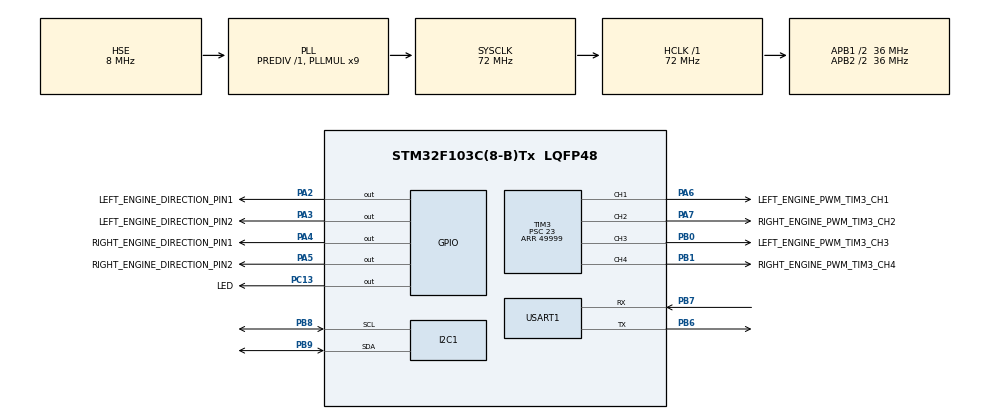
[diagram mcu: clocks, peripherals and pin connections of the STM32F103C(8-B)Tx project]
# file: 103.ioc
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Mcu.Family=STM32F1
Mcu.Name=STM32F103C(8-B)Tx
Mcu.Package=LQFP48
NVIC.I2C1_ER_IRQn=true\:0\:0\:false\:false\:true\:true\:true
NVIC.I2C1_EV_IRQn=true\:0\:0\:false\:false\:true\:true\:true
NVIC.PriorityGroup=NVIC_PRIORITYGROUP_4
NVIC.TIM3_IRQn=true\:0\:0\:false\:false\:true\:true\:true
NVIC.USART1_IRQn=true\:0\:0\:false\:false\:true\:true\:true
PA13.Mode=Trace_Asynchronous_SW
PA13.Signal=SYS_JTMS-SWDIO
PA14.Mode=Trace_Asynchronous_SW
PA14.Signal=SYS_JTCK-SWCLK
PA2.GPIO_Label=LEFT_ENGINE_DIRECTION_PIN1
PA2.GPIO_ModeDefaultOutputPP=GPIO_MODE_OUTPUT_OD
PA2.GPIO_Speed=GPIO_SPEED_FREQ_LOW
PA2.PinState=GPIO_PIN_RESET
PA2.Signal=GPIO_Output
PA3.GPIO_Label=LEFT_ENGINE_DIRECTION_PIN2
PA3.GPIO_ModeDefaultOutputPP=GPIO_MODE_OUTPUT_OD
PA3.GPIO_Speed=GPIO_SPEED_FREQ_LOW
PA3.PinState=GPIO_PIN_RESET
PA3.Signal=GPIO_Output
PA4.GPIO_Label=RIGHT_ENGINE_DIRECTION_PIN1
PA4.GPIO_ModeDefaultOutputPP=GPIO_MODE_OUTPUT_OD
PA4.GPIO_Speed=GPIO_SPEED_FREQ_LOW
PA4.PinState=GPIO_PIN_RESET
PA4.Signal=GPIO_Output
PA5.GPIO_Label=RIGHT_ENGINE_DIRECTION_PIN2
PA5.GPIO_ModeDefaultOutputPP=GPIO_MODE_OUTPUT_OD
PA5.GPIO_Speed=GPIO_SPEED_FREQ_LOW
PA5.PinState=GPIO_PIN_RESET
PA5.Signal=GPIO_Output
PA6.GPIO_Label=LEFT_ENGINE_PWM_TIM3_CH1
PA6.Signal=S_TIM3_CH1
PA7.GPIO_Label=RIGHT_ENGINE_PWM_TIM3_CH2
PA7.Signal=S_TIM3_CH2
PB0.GPIO_Label=LEFT_ENGINE_PWM_TIM3_CH3
PB0.Signal=S_TIM3_CH3
PB1.GPIO_Label=RIGHT_ENGINE_PWM_TIM3_CH4
PB1.Signal=S_TIM3_CH4
PB3.Mode=Trace_Asynchronous_SW
PB3.Signal=SYS_JTDO-TRACESWO
PB6.Mode=Asynchronous
PB6.Signal=USART1_TX
PB7.Mode=Asynchronous
PB7.Signal=USART1_RX
PB8.Mode=I2C
PB8.Signal=I2C1_SCL
PB9.Mode=I2C
PB9.Signal=I2C1_SDA
PC13-TAMPER-RTC.GPIO_Label=LED
PC13-TAMPER-RTC.Signal=GPIO_Output
PD0-OSC_IN.Mode=HSE-External-Oscillator
PD0-OSC_IN.Signal=RCC_OSC_IN
PD1-OSC_OUT.Mode=HSE-External-Oscillator
PD1-OSC_OUT.Signal=RCC_OSC_OUT
ProjectManager.HeapSize=0x400
ProjectManager.StackSize=0x400
ProjectManager.TargetToolchain=MDK-ARM V5.27
RCC.AHBFreq_Value=72000000
RCC.APB1CLKDivider=RCC_HCLK_DIV2
RCC.APB1Freq_Value=36000000
RCC.APB1TimFreq_Value=72000000
RCC.APB2CLKDivider=RCC_HCLK_DIV2
RCC.APB2Freq_Value=36000000
RCC.APB2TimFreq_Value=72000000
RCC.HCLKFreq_Value=72000000
RCC.PLLMUL=RCC_PLL_MUL9
RCC.PLLSourceVirtual=RCC_PLLSOURCE_HSE
RCC.SYSCLKFreq_VALUE=72000000
RCC.SYSCLKSource=RCC_SYSCLKSOURCE_PLLCLK
RCC.USBFreq_Value=72000000
SH.S_TIM3_CH1.0=TIM3_CH1,PWM Generation1 CH1
SH.S_TIM3_CH2.0=TIM3_CH2,PWM Generation2 CH2
SH.S_TIM3_CH3.0=TIM3_CH3,PWM Generation3 CH3
SH.S_TIM3_CH4.0=TIM3_CH4,PWM Generation4 CH4
TIM3.Channel-PWM\ Generation1\ CH1=TIM_CHANNEL_1
TIM3.Channel-PWM\ Generation2\ CH2=TIM_CHANNEL_2
TIM3.Channel-PWM\ Generation3\ CH3=TIM_CHANNEL_3
TIM3.Channel-PWM\ Generation4\ CH4=TIM_CHANNEL_4
TIM3.Period=49999
TIM3.Prescaler=23
TIM3.Pulse-PWM\ Generation1\ CH1=40000
TIM3.Pulse-PWM\ Generation2\ CH2=40000
TIM3.Pulse-PWM\ Generation3\ CH3=40000
TIM3.Pulse-PWM\ Generation4\ CH4=40000
USART1.VirtualMode=VM_ASYNC
VP_TIM3_VS_ClockSourceINT.Mode=Internal
board=custom

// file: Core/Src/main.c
/* USER CODE BEGIN Header */
/**
  ******************************************************************************
  * @file           : main.c
  * @brief          : Main program body
  ******************************************************************************
  * @attention
  *
  * <h2><center>&copy; Copyright (c) 2022 STMicroelectronics.
  * All rights reserved.</center></h2>
  *
  * This software component is licensed by ST under BSD 3-Clause license,
  * the "License"; You may not use this file except in compliance with the
  * License. You may obtain a copy of the License at:
  *                        opensource.org/licenses/BSD-3-Clause
  *
  ******************************************************************************
  */
/* USER CODE END Header */
#include "main.h"

/* USER CODE BEGIN Includes */
#include "Memory.h"
#include "TimeSpan.h"
#include "DeviceData.h"
#include "RS485Connector.h"
/* USER CODE END Includes */

I2C_HandleTypeDef hi2c1;

TIM_HandleTypeDef htim3;

UART_HandleTypeDef huart1;

/* USER CODE BEGIN PV */
Memory memory;
DeviceData deviceData;

RS485Server server=
{
	.tim=NULL,
  .uart=&huart1,
	.RTS_GPIO_PORT=NULL,
	.workMode=RS485_UNDEFINED_MODE,
};
/* USER CODE END PV */

void SystemClock_Config(void);
static void MX_GPIO_Init(void);
static void MX_TIM3_Init(void);
static void MX_USART1_UART_Init(void);
static void MX_I2C1_Init(void);

/* USER CODE BEGIN 0 */
void HAL_UART_TxCpltCallback(UART_HandleTypeDef *huart)
{
	//if(huart->Instance==rs485Server.uart->Instance)
	RS485Server_uartTxSlot(&server);
}

void HAL_UART_RxCpltCallback(UART_HandleTypeDef *huart)
{
	//if(huart->Instance==rs485Server.uart->Instance)
	RS485Server_uartRxSlot(&server);
}

void HAL_UART_ErrorCallback(UART_HandleTypeDef *huart)
{
  //if(huart->Instance==server.uart->Instance)
	RS485Server_uartErrorSlot(&server);
}
/* USER CODE END 0 */

int main(void)
{

  /* MCU Configuration--------------------------------------------------------*/

  /* Reset of all peripherals, Initializes the Flash interface and the Systick. */
  HAL_Init();

  /* USER CODE BEGIN Init */
  Memory_Init(&memory);
  /* USER CODE END Init */

  /* Configure the system clock */
  SystemClock_Config();

  /* Initialize all configured peripherals */
  MX_GPIO_Init();
  MX_TIM3_Init();
  MX_USART1_UART_Init();
  MX_I2C1_Init();
  /* USER CODE BEGIN 2 */

  RS485Connector_Init(&server);
  /* USER CODE END 2 */

  /* Infinite loop */
  while (1)
  {

  }
}

void SystemClock_Config(void)
{
  RCC_OscInitTypeDef RCC_OscInitStruct = {0};
  RCC_ClkInitTypeDef RCC_ClkInitStruct = {0};

  /** Initializes the RCC Oscillators according to the specified parameters
  * in the RCC_OscInitTypeDef structure.
  */
  RCC_OscInitStruct.OscillatorType = RCC_OSCILLATORTYPE_HSE;
  RCC_OscInitStruct.HSEState = RCC_HSE_ON;
  RCC_OscInitStruct.HSEPredivValue = RCC_HSE_PREDIV_DIV1;
  RCC_OscInitStruct.HSIState = RCC_HSI_ON;
  RCC_OscInitStruct.PLL.PLLState = RCC_PLL_ON;
  RCC_OscInitStruct.PLL.PLLSource = RCC_PLLSOURCE_HSE;
  RCC_OscInitStruct.PLL.PLLMUL = RCC_PLL_MUL9;
  if (HAL_RCC_OscConfig(&RCC_OscInitStruct) != HAL_OK)
  {
    Error_Handler();
  }
  /** Initializes the CPU, AHB and APB buses clocks
  */
  RCC_ClkInitStruct.ClockType = RCC_CLOCKTYPE_HCLK|RCC_CLOCKTYPE_SYSCLK
                              |RCC_CLOCKTYPE_PCLK1|RCC_CLOCKTYPE_PCLK2;
  RCC_ClkInitStruct.SYSCLKSource = RCC_SYSCLKSOURCE_PLLCLK;
  RCC_ClkInitStruct.AHBCLKDivider = RCC_SYSCLK_DIV1;
  RCC_ClkInitStruct.APB1CLKDivider = RCC_HCLK_DIV2;
  RCC_ClkInitStruct.APB2CLKDivider = RCC_HCLK_DIV2;

  if (HAL_RCC_ClockConfig(&RCC_ClkInitStruct, FLASH_LATENCY_2) != HAL_OK)
  {
    Error_Handler();
  }
}

static void MX_I2C1_Init(void)
{

  hi2c1.Instance = I2C1;
  hi2c1.Init.ClockSpeed = 100000;
  hi2c1.Init.DutyCycle = I2C_DUTYCYCLE_2;
  hi2c1.Init.OwnAddress1 = 0;
  hi2c1.Init.AddressingMode = I2C_ADDRESSINGMODE_7BIT;
  hi2c1.Init.DualAddressMode = I2C_DUALADDRESS_DISABLE;
  hi2c1.Init.OwnAddress2 = 0;
  hi2c1.Init.GeneralCallMode = I2C_GENERALCALL_DISABLE;
  hi2c1.Init.NoStretchMode = I2C_NOSTRETCH_DISABLE;
  if (HAL_I2C_Init(&hi2c1) != HAL_OK)
  {
    Error_Handler();
  }

}

static void MX_TIM3_Init(void)
{

  TIM_ClockConfigTypeDef sClockSourceConfig = {0};
  TIM_MasterConfigTypeDef sMasterConfig = {0};
  TIM_OC_InitTypeDef sConfigOC = {0};

  htim3.Instance = TIM3;
  htim3.Init.Prescaler = 23;
  htim3.Init.CounterMode = TIM_COUNTERMODE_UP;
  htim3.Init.Period = 49999;
  htim3.Init.ClockDivision = TIM_CLOCKDIVISION_DIV1;
  htim3.Init.AutoReloadPreload = TIM_AUTORELOAD_PRELOAD_DISABLE;
  if (HAL_TIM_Base_Init(&htim3) != HAL_OK)
  {
    Error_Handler();
  }
  sClockSourceConfig.ClockSource = TIM_CLOCKSOURCE_INTERNAL;
  if (HAL_TIM_ConfigClockSource(&htim3, &sClockSourceConfig) != HAL_OK)
  {
    Error_Handler();
  }
  if (HAL_TIM_PWM_Init(&htim3) != HAL_OK)
  {
    Error_Handler();
  }
  sMasterConfig.MasterOutputTrigger = TIM_TRGO_RESET;
  sMasterConfig.MasterSlaveMode = TIM_MASTERSLAVEMODE_DISABLE;
  if (HAL_TIMEx_MasterConfigSynchronization(&htim3, &sMasterConfig) != HAL_OK)
  {
    Error_Handler();
  }
  sConfigOC.OCMode = TIM_OCMODE_PWM1;
  sConfigOC.Pulse = 40000;
  sConfigOC.OCPolarity = TIM_OCPOLARITY_HIGH;
  sConfigOC.OCFastMode = TIM_OCFAST_DISABLE;
  if (HAL_TIM_PWM_ConfigChannel(&htim3, &sConfigOC, TIM_CHANNEL_1) != HAL_OK)
  {
    Error_Handler();
  }
  if (HAL_TIM_PWM_ConfigChannel(&htim3, &sConfigOC, TIM_CHANNEL_2) != HAL_OK)
  {
    Error_Handler();
  }
  if (HAL_TIM_PWM_ConfigChannel(&htim3, &sConfigOC, TIM_CHANNEL_3) != HAL_OK)
  {
    Error_Handler();
  }
  if (HAL_TIM_PWM_ConfigChannel(&htim3, &sConfigOC, TIM_CHANNEL_4) != HAL_OK)
  {
    Error_Handler();
  }
  HAL_TIM_MspPostInit(&htim3);

}

static void MX_USART1_UART_Init(void)
{

  /* USER CODE BEGIN USART1_Init 1 */
  #ifdef OLD_CODE
  /* USER CODE END USART1_Init 1 */
  huart1.Instance = USART1;
  huart1.Init.BaudRate = 115200;
  huart1.Init.WordLength = UART_WORDLENGTH_8B;
  huart1.Init.StopBits = UART_STOPBITS_1;
  huart1.Init.Parity = UART_PARITY_NONE;
  huart1.Init.Mode = UART_MODE_TX_RX;
  huart1.Init.HwFlowCtl = UART_HWCONTROL_NONE;
  huart1.Init.OverSampling = UART_OVERSAMPLING_16;
  if (HAL_UART_Init(&huart1) != HAL_OK)
  {
    Error_Handler();
  }
  /* USER CODE BEGIN USART1_Init 2 */
	#else
	huart1.Instance = USART1;
  huart1.Init.BaudRate = memory.uartProperty.uartBaudrate;
  huart1.Init.WordLength = UART_WORDLENGTH_8B;
  huart1.Init.StopBits = UART_STOPBITS_1;
  huart1.Init.Parity = UART_PARITY_NONE;
  huart1.Init.Mode = UART_MODE_TX_RX;
  huart1.Init.HwFlowCtl = UART_HWCONTROL_NONE;
  huart1.Init.OverSampling = UART_OVERSAMPLING_16;
  if (HAL_UART_Init(&huart1) != HAL_OK)
  {
    Error_Handler();
  }
	#endif

  /* USER CODE END USART1_Init 2 */

}

static void MX_GPIO_Init(void)
{
  GPIO_InitTypeDef GPIO_InitStruct = {0};

  /* GPIO Ports Clock Enable */
  __HAL_RCC_GPIOC_CLK_ENABLE();
  __HAL_RCC_GPIOD_CLK_ENABLE();
  __HAL_RCC_GPIOA_CLK_ENABLE();
  __HAL_RCC_GPIOB_CLK_ENABLE();

  /*Configure GPIO pin Output Level */
  HAL_GPIO_WritePin(LED_GPIO_Port, LED_Pin, GPIO_PIN_RESET);

  /*Configure GPIO pin Output Level */
  HAL_GPIO_WritePin(GPIOA, LEFT_ENGINE_DIRECTION_PIN1_Pin|LEFT_ENGINE_DIRECTION_PIN2_Pin|RIGHT_ENGINE_DIRECTION_PIN1_Pin|RIGHT_ENGINE_DIRECTION_PIN2_Pin, GPIO_PIN_RESET);

  /*Configure GPIO pin : LED_Pin */
  GPIO_InitStruct.Pin = LED_Pin;
  GPIO_InitStruct.Mode = GPIO_MODE_OUTPUT_PP;
  GPIO_InitStruct.Pull = GPIO_NOPULL;
  GPIO_InitStruct.Speed = GPIO_SPEED_FREQ_LOW;
  HAL_GPIO_Init(LED_GPIO_Port, &GPIO_InitStruct);

  /*Configure GPIO pins : LEFT_ENGINE_DIRECTION_PIN1_Pin LEFT_ENGINE_DIRECTION_PIN2_Pin RIGHT_ENGINE_DIRECTION_PIN1_Pin RIGHT_ENGINE_DIRECTION_PIN2_Pin */
  GPIO_InitStruct.Pin = LEFT_ENGINE_DIRECTION_PIN1_Pin|LEFT_ENGINE_DIRECTION_PIN2_Pin|RIGHT_ENGINE_DIRECTION_PIN1_Pin|RIGHT_ENGINE_DIRECTION_PIN2_Pin;
  GPIO_InitStruct.Mode = GPIO_MODE_OUTPUT_OD;
  GPIO_InitStruct.Pull = GPIO_NOPULL;
  GPIO_InitStruct.Speed = GPIO_SPEED_FREQ_LOW;
  HAL_GPIO_Init(GPIOA, &GPIO_InitStruct);

}

void Error_Handler(void)
{
  __disable_irq();
  while (1)
  {
  }
}

/************************ (C) COPYRIGHT STMicroelectronics *****END OF FILE****/
